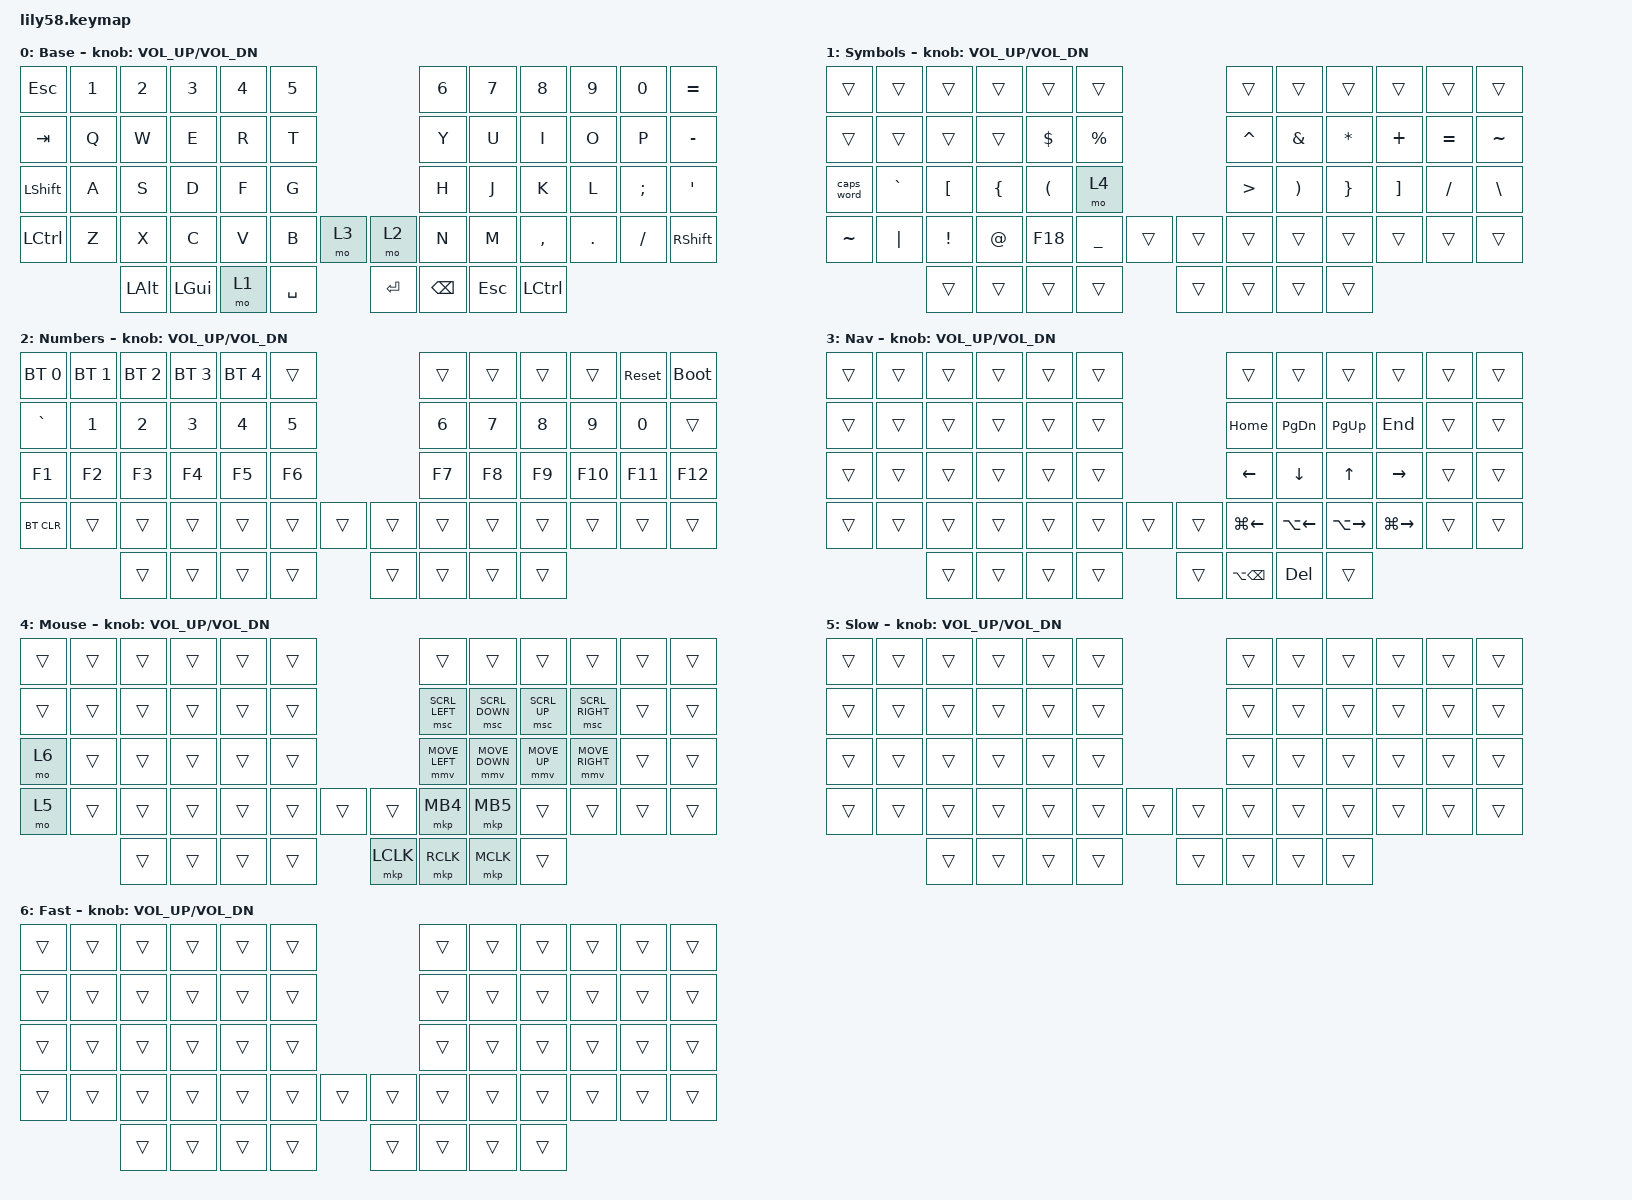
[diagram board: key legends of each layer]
/*
 * Copyright (c) 2020 The ZMK Contributors
 *
 * SPDX-License-Identifier: MIT
 */

/* Mouse cursor speed. ZMK_POINTING_DEFAULT_MOVE_VAL is an #ifndef-guarded
 * macro, not a Kconfig, so this must be defined before any include can pull in
 * pointing.h. Stock is 600. */
#define ZMK_POINTING_DEFAULT_MOVE_VAL 900

#include <behaviors.dtsi>
#include <dt-bindings/zmk/keys.h>
#include <dt-bindings/zmk/bt.h>
#include <dt-bindings/zmk/ext_power.h>
#include <dt-bindings/zmk/pointing.h>
#include <input/processors.dtsi>

// Key positions (58):
//   row0  0.. 5 |  6..11      row1 12..17 | 18..23
//   row2 24..29 | 30..35      row3 36..42 | 43..49
//   thumbs  50 51 52 53 | 54 55 56 57

/* Cursor speed by layer. Scaling happens here rather than by rebinding the
 * movement keys, which is why the Slow and Fast layers are entirely
 * transparent — they fall straight through to the Mouse layer's own bindings.
 * ponytail: <multiplier divisor>. 1 4 is a quarter speed, 2 1 is double. */
&mmv_input_listener {
    slow {
        layers = <5>;
        input-processors = <&zip_xy_scaler 1 4>;
    };
    fast {
        layers = <6>;
        input-processors = <&zip_xy_scaler 2 1>;
    };
};

/ {
  // Hold SYM (thumb 52) + NAV (index 42) -> Numbers/Fn. No timing, no combo.
  conditional_layers {
    compatible = "zmk,conditional-layers";
    tri_layer {
      if-layers = <1 3>;
      then-layer = <2>;
    };
  };

  keymap {
    compatible = "zmk,keymap";

    default_layer {
      display-name = "Base";

      // ---------------------------------------------------------------------------------------------------------------
      // |  ESC  |  1  |  2  |  3   |  4   |  5   |                   |  6   |  7    |  8    |  9   |   0   |   =   |
      // |  TAB  |  Q  |  W  |  E   |  R   |  T   |                   |  Y   |  U    |  I    |  O   |   P   |   -   |
      // | LSHFT |  A  |  S  |  D   |  F   |  G   |                   |  H   |  J    |  K    |  L   |   ;   |   '   |
      // | CTRL  |  Z  |  X  |  C   |  V   |  B   | NAV  |  NUM      |  N   |  M    |  ,    |  .   |   /   | SHIFT |
      //                           | ALT  | GUI  | SYM  | SPACE |   | RET  | BSPC | ESC | CTRL |
      // ---------------------------------------------------------------------------------------------------------------

      bindings = <
&kp ESC    &kp N1  &kp N2  &kp N3  &kp N4  &kp N5                     &kp N6    &kp N7  &kp N8     &kp N9   &kp N0    &kp EQUAL
&kp TAB    &kp Q   &kp W   &kp E   &kp R   &kp T                      &kp Y     &kp U   &kp I      &kp O    &kp P     &kp MINUS
&kp LSHFT  &kp A   &kp S   &kp D   &kp F   &kp G                      &kp H     &kp J   &kp K      &kp L    &kp SEMI  &kp SQT
&kp LCTRL  &kp Z   &kp X   &kp C   &kp V   &kp B  &mo 3      &mo 2    &kp N     &kp M   &kp COMMA  &kp DOT  &kp FSLH  &kp RSHFT
                       &kp LALT  &kp LGUI  &mo 1  &kp SPACE  &kp RET   &kp BSPC  &kp ESC &kp LCTRL
      >;

      sensor-bindings = <&inc_dec_kp C_VOL_UP C_VOL_DN>;
    };

    lower_layer {
      display-name = "Symbols";
      /* # is F18: macOS is on the British layout, where shift-3 is £ and # is
       * alt-3, which AeroSpace owns. Hammerspoon turns F18 into a typed "#". */

      // Held by the LEFT thumb (52) -> the whole right hand stays free.
      // Brackets paired by finger: same finger position, opening on left, closing on right.
      // ---------------------------------------------------------------------------------------------------------------
      // |       |     |     |      |      |      |                   |      |       |       |      |       |       |
      // |       |     |     |      |  $   |  %   |                   |  ^   |  &    |  *    |  +   |   =   |   ~   |
      // | CAPSW |  `  |  [  |  {   |  (   |MOUSE |                   |  >   |  )    |  }    |  ]   |   /   |   \   |
      // |   ~   |  |  |  !  |  @   |  #   |  _   |      |            |      |       |       |      |       |       |
      // ---------------------------------------------------------------------------------------------------------------

      bindings = <
&trans      &trans       &trans       &trans       &trans       &trans                    &trans     &trans    &trans    &trans    &trans    &trans
&trans      &trans       &trans       &trans       &kp DOLLAR   &kp PRCNT                 &kp CARET  &kp AMPS  &kp ASTRK &kp PLUS  &kp EQUAL &kp TILDE
&caps_word  &kp GRAVE    &kp LBKT     &kp LBRC     &kp LPAR     &mo 4                    &kp GT     &kp RPAR  &kp RBRC  &kp RBKT  &kp FSLH  &kp BSLH
&kp TILDE   &kp PIPE     &kp EXCL     &kp AT       &kp F18      &kp UNDER &trans  &trans  &trans     &trans    &trans    &trans    &trans    &trans
                                      &trans       &trans       &trans    &trans  &trans  &trans     &trans    &trans
      >;

      sensor-bindings = <&inc_dec_kp C_VOL_UP C_VOL_DN>;
    };

    raise_layer {
      display-name = "Numbers";

      // Reached by holding SYM (52) + NAV (42), or &mo 2 at position 43.
      // ---------------------------------------------------------------------------------------------------------------
      // |  BT0  | BT1 | BT2 | BT3 | BT4 |     |                   |      |      |      |      | RESET| BOOTL |
      // |   `   |  1  |  2  |  3  |  4  |  5  |                   |  6   |  7   |  8   |  9   |  0   |       |
      // |  F1   |  F2 |  F3 |  F4 |  F5 |  F6 |                   |  F7  |  F8  |  F9  | F10  | F11  |  F12  |
      // | BTCLR |     |     |     |     |     |      |            |      |      |      |      |      |       |
      // ---------------------------------------------------------------------------------------------------------------

      bindings = <
&bt BT_SEL 0 &bt BT_SEL 1 &bt BT_SEL 2 &bt BT_SEL 3 &bt BT_SEL 4 &trans     &trans  &trans  &trans  &trans   &sys_reset &bootloader
&kp GRAVE  &kp N1 &kp N2 &kp N3  &kp N4  &kp N5                       &kp N6  &kp N7  &kp N8  &kp N9   &kp N0   &trans
&kp F1     &kp F2 &kp F3 &kp F4  &kp F5  &kp F6                       &kp F7  &kp F8  &kp F9  &kp F10  &kp F11  &kp F12
&bt BT_CLR &trans &trans &trans  &trans  &trans    &trans   &trans    &trans  &trans  &trans  &trans   &trans   &trans
                         &trans  &trans  &trans    &trans   &trans    &trans  &trans  &trans
      >;

      sensor-bindings = <&inc_dec_kp C_VOL_UP C_VOL_DN>;
    };

    nav_layer {
      display-name = "Nav";

      // Held by the LEFT thumb (52) -> all movement is on the right hand.
      // ---------------------------------------------------------------------------------------------------------------
      // |       |     |     |     |     |     |                   |      |       |       |      |      |       |
      // |       |     |     |     |     |     |                   | HOME | PG_DN | PG_UP | END  |      |       |
      // |       |     |     |     |     |     |                   | LEFT | DOWN  |  UP   |RIGHT |      |       |
      // |       |     |     |     |     |     |      |            | ^LFT | ~LFT  | ~RGT  | ^RGT |      |       |
      //                           |      |      |      |      |   |      | ~BSP | DEL  | held  |
      // ---------------------------------------------------------------------------------------------------------------

      bindings = <
&trans  &trans  &trans  &trans  &trans  &trans                      &trans        &trans         &trans         &trans          &trans  &trans
&trans  &trans  &trans  &trans  &trans  &trans                      &kp HOME      &kp PG_DN      &kp PG_UP      &kp END         &trans  &trans
&trans  &trans  &trans  &trans  &trans  &trans                      &kp LEFT      &kp DOWN       &kp UP         &kp RIGHT       &trans  &trans
&trans  &trans  &trans  &trans  &trans  &trans  &trans   &trans     &kp LG(LEFT)  &kp LA(LEFT)   &kp LA(RIGHT)  &kp LG(RIGHT)   &trans  &trans
                        &trans  &trans  &trans  &trans   &trans        &kp LA(BSPC)  &kp DEL     &trans
      >;

      sensor-bindings = <&inc_dec_kp C_VOL_UP C_VOL_DN>;
    };

    mouse_layer {
      display-name = "Mouse";

      // Opened from Symbols: the left thumb already holds SYM, so G adds the
      // Mouse layer. Thumb plus index, both left, leaving the right hand to move
      // and the right thumbs to click.
      // Speed rides on the left half's own Shift (faster) and Ctrl (slower).
      // The left hand holds, so the whole right hand is free — fingers move and
      // scroll, thumbs click. Position 28 stays transparent here so it keeps
      // resolving to &mo 4 on the layer below.
      // ---------------------------------------------------------------------------------------------------------------
      // |       |     |     |     |     |     |                   |      |      |      |      |      |       |
      // |       |     |     |     |     |     |                   | SCR← | SCR↓ | SCR↑ | SCR→ |      |       |
      // | FAST  |     |     |     |     |held |                   | MOU← | MOU↓ | MOU↑ | MOU→ |      |       |
      // | SLOW  |     |     |     |     |     |      |            | BACK | FWD  |      |      |      |       |
      //                           |      |      |      |      |   | LCLK | RCLK | MCLK |       |
      // ---------------------------------------------------------------------------------------------------------------

      bindings = <
&trans  &trans  &trans  &trans  &trans  &trans                      &trans            &trans            &trans          &trans             &trans  &trans
&trans  &trans  &trans  &trans  &trans  &trans                      &msc SCRL_LEFT    &msc SCRL_DOWN    &msc SCRL_UP    &msc SCRL_RIGHT    &trans  &trans
&mo 6   &trans  &trans  &trans  &trans  &trans                      &mmv MOVE_LEFT    &mmv MOVE_DOWN    &mmv MOVE_UP    &mmv MOVE_RIGHT    &trans  &trans
&mo 5   &trans  &trans  &trans  &trans  &trans  &trans   &trans     &mkp MB4          &mkp MB5          &trans          &trans             &trans  &trans
                        &trans  &trans  &trans  &trans   &mkp LCLK  &mkp RCLK         &mkp MCLK         &trans
      >;

      sensor-bindings = <&inc_dec_kp C_VOL_UP C_VOL_DN>;
    };

    slow_layer {
      display-name = "Slow";

      // Quarter speed, for landing on a small target. Entirely transparent: the speed change is an input processor on
      // mmv_input_listener, so every key still comes from the Mouse layer.

      bindings = <
&trans  &trans  &trans  &trans  &trans  &trans                      &trans  &trans  &trans  &trans  &trans  &trans
&trans  &trans  &trans  &trans  &trans  &trans                      &trans  &trans  &trans  &trans  &trans  &trans
&trans  &trans  &trans  &trans  &trans  &trans                      &trans  &trans  &trans  &trans  &trans  &trans
&trans  &trans  &trans  &trans  &trans  &trans  &trans   &trans     &trans  &trans  &trans  &trans  &trans  &trans
                        &trans  &trans  &trans  &trans   &trans     &trans  &trans  &trans
      >;

      sensor-bindings = <&inc_dec_kp C_VOL_UP C_VOL_DN>;
    };

    fast_layer {
      display-name = "Fast";

      // Double speed, for crossing the screen. Entirely transparent: the speed change is an input processor on
      // mmv_input_listener, so every key still comes from the Mouse layer.

      bindings = <
&trans  &trans  &trans  &trans  &trans  &trans                      &trans  &trans  &trans  &trans  &trans  &trans
&trans  &trans  &trans  &trans  &trans  &trans                      &trans  &trans  &trans  &trans  &trans  &trans
&trans  &trans  &trans  &trans  &trans  &trans                      &trans  &trans  &trans  &trans  &trans  &trans
&trans  &trans  &trans  &trans  &trans  &trans  &trans   &trans     &trans  &trans  &trans  &trans  &trans  &trans
                        &trans  &trans  &trans  &trans   &trans     &trans  &trans  &trans
      >;

      sensor-bindings = <&inc_dec_kp C_VOL_UP C_VOL_DN>;
    };
  };
};
